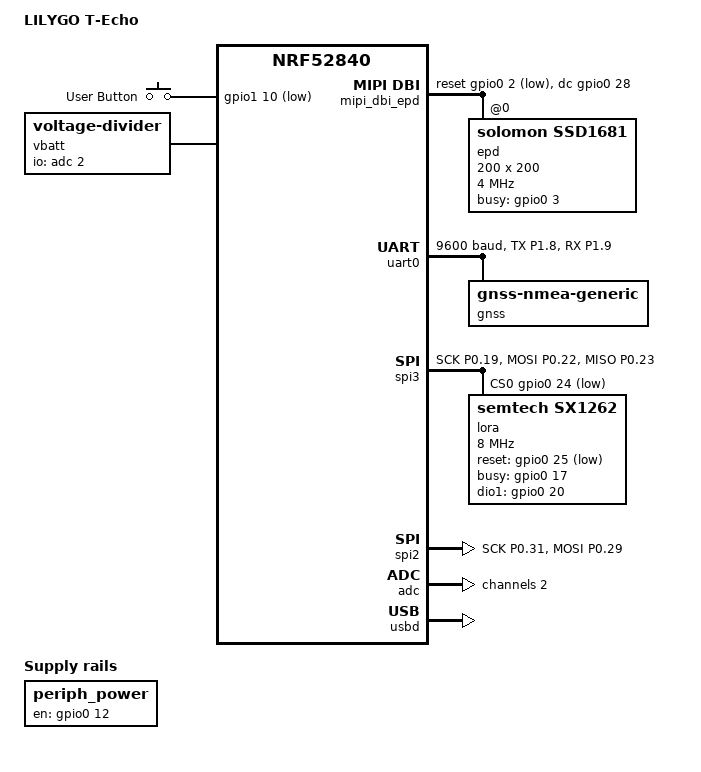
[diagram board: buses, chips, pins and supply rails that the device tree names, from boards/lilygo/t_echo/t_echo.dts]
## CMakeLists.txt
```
# LoRa Convoy on Zephyr, for the nRF52840 boards. The shared sources are the ESP32 build's own, from
# ../src; what differs is the platform under them (src/port_zephyr.*) and start-up (src/main.c).
cmake_minimum_required(VERSION 3.20.0)
find_package(Zephyr REQUIRED HINTS $ENV{ZEPHYR_BASE})
project(lora_convoy)

set(SHARED ${CMAKE_CURRENT_SOURCE_DIR}/../src)

target_sources(app PRIVATE
    src/main.c
    src/port_zephyr.c
    src/ble_nus.c
    src/store.c
    ${SHARED}/run.c
    ${SHARED}/sx1262.c
    ${SHARED}/phy.c
    ${SHARED}/crypto.c
    ${SHARED}/codec.c
    ${SHARED}/nmea.c
    ${SHARED}/node.c
    ${SHARED}/api.c
    ${SHARED}/screen.c
    ${SHARED}/screen_font.c
)
target_include_directories(app PRIVATE src ${SHARED})
# The board's pins, from its devicetree, ahead of everything else: sx1262.h's defaults are the
# Heltec's and apply to whatever has not been named first.
target_compile_options(app PRIVATE -include ${CMAKE_CURRENT_SOURCE_DIR}/src/board.h)
```

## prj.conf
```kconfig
CONFIG_GPIO=y
CONFIG_SPI=y
CONFIG_I2C=y
CONFIG_SERIAL=y
CONFIG_UART_INTERRUPT_DRIVEN=y
CONFIG_UART_USE_RUNTIME_CONFIGURE=y
CONFIG_ENTROPY_GENERATOR=y
CONFIG_HEAP_MEM_POOL_SIZE=32768
CONFIG_DYNAMIC_THREAD=y
CONFIG_DYNAMIC_THREAD_ALLOC=y
CONFIG_DYNAMIC_THREAD_STACK_SIZE=6144
CONFIG_THREAD_NAME=y
CONFIG_MAIN_STACK_SIZE=4096
CONFIG_SYSTEM_WORKQUEUE_STACK_SIZE=4096
CONFIG_COMMON_LIBC_MALLOC_ARENA_SIZE=8192
CONFIG_PICOLIBC_IO_LONG_LONG=y
CONFIG_HWINFO=y
CONFIG_REBOOT=y
# Off by the button (port_power_off): System OFF, its button the way back.
CONFIG_POWEROFF=y
# A hung task restarts the board, with the chip's own watchdog under the kernel's (dmd2-lora-bridge).
CONFIG_TASK_WDT=y
CONFIG_WATCHDOG=y
CONFIG_TASK_WDT_MIN_TIMEOUT=10000
CONFIG_TASK_WDT_HW_FALLBACK_DELAY=10000
CONFIG_LOG=y
CONFIG_LOG_BUFFER_SIZE=8192
# Storage for the bonds, and Bluetooth for the phone API, as dmd2-lora-bridge configured them.
CONFIG_FLASH=y
CONFIG_FLASH_MAP=y
CONFIG_NVS=y
CONFIG_SETTINGS=y
CONFIG_SETTINGS_NVS=y
CONFIG_NVS_DATA_CRC=y
CONFIG_BT=y
CONFIG_BT_PERIPHERAL=y
CONFIG_BT_MAX_CONN=1
CONFIG_BT_MAX_PAIRED=2
CONFIG_BT_SMP=y
CONFIG_BT_SMP_APP_PAIRING_ACCEPT=y
CONFIG_BT_SETTINGS=y
CONFIG_BT_DEVICE_NAME_DYNAMIC=y
CONFIG_BT_DEVICE_NAME_MAX=30
CONFIG_BT_DEVICE_NAME="LoRaConvoy"
CONFIG_BT_L2CAP_TX_MTU=247
CONFIG_BT_BUF_ACL_RX_SIZE=251
CONFIG_BT_BUF_ACL_TX_SIZE=251
CONFIG_BT_CTLR_DATA_LENGTH_MAX=251
CONFIG_BT_BUF_ACL_TX_COUNT=10
CONFIG_BT_BUF_EVT_RX_COUNT=16
CONFIG_BT_ATT_TX_COUNT=10
CONFIG_BT_L2CAP_TX_BUF_COUNT=10
CONFIG_BT_RX_STACK_SIZE=4096
# The screen (src/screen.c) through Zephyr's display drivers, the battery through its voltage divider.
CONFIG_DISPLAY=y
CONFIG_SENSOR=y
```

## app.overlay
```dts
/*
 * The USB console holds one 64-byte packet for a character write and, without flow control,
 * drops whatever does not fit: every log line past 64 bytes lost its tail, the bench's
 * startup line among them. With it, a full packet makes the writer sleep 1 ms and retry. The only
 * writer is the deferred log thread (printk goes through the log), so the firmware never waits;
 * with no host reading, the log buffer overflows instead, and a panic's output, written from
 * the fault handler, is still dropped rather than waited for.
 *
 * ponytail: with no host, the log thread wakes every 1 ms for as long as USB stays unread;
 * turn flow control on only while DTR is set if the current-draw measurement shows it.
 */
&board_cdc_acm_uart {
	hw-flow-control;
};

/* The GNSS's UART is read by our own NMEA reader on both boards (ARCHITECTURE, M3), not by
 * Zephyr's GNSS driver. */
&gnss {
	status = "disabled";
};
```

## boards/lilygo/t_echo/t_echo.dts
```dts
/*
 * LILYGO T-Echo: an nRF52840 with an SX1262 and an L76K whose PPS is wired. Zephyr 4.5 has no
 * board file for it; this names only what LoRa Convoy uses - the radio, the GNSS's UART, the
 * button, USB, the e-paper and the battery - and leaves the flash alone. Pins from Meshtastic's
 * variants/nrf52840/t-echo/variant.h; the pins with no devicetree node of their own (PPS, the
 * GNSS's wake and reset, the peripherals' power) are in src/board.h.
 *
 * The partition is for the Adafruit UF2 bootloader with SoftDevice v6, the application at
 * 0x26000: what a unit bought in 2026 came with (bootloader 0.6.1, S140 6.1.1).
 */

/dts-v1/;
#include <nordic/nrf52840_qiaa.dtsi>
#include <nordic/nrf52840_partition_uf2_sdv6.dtsi>
#include <zephyr/dt-bindings/lora/sx126x.h>
#include <zephyr/dt-bindings/adc/nrf-saadc.h>
#include <zephyr/dt-bindings/input/input-event-codes.h>

/ {
	model = "LILYGO T-Echo";
	compatible = "lilygo,t-echo";

	buttons {
		compatible = "gpio-keys";

		button0: button_0 {
			gpios = <&gpio1 10 (GPIO_PULL_UP | GPIO_ACTIVE_LOW)>;
			label = "User Button";
			zephyr,code = <INPUT_KEY_0>;
		};
	};

	chosen {
		zephyr,display = &epd;
	};

	/* P0.12 powers the e-paper, the GNSS and the radio: on from the start, so the e-paper's
	 * driver finds it powered (main.c raises it again, harmlessly). */
	periph_power: periph-power {
		compatible = "regulator-fixed";
		regulator-name = "periph";
		enable-gpios = <&gpio0 12 GPIO_ACTIVE_HIGH>;
		regulator-boot-on;
		regulator-always-on;
	};

	/* The battery through two equal resistors on P0.04, AIN2 (Meshtastic: ADC_MULTIPLIER 2). */
	vbatt: vbatt {
		compatible = "voltage-divider";
		io-channels = <&adc 2>;
		output-ohms = <1000000>;
		full-ohms = <2000000>;
	};

	/* A GDEH0154D67 on its own SPI: SCK P0.31, MOSI P0.29, CS P0.30, DC P0.28, RES P0.02,
	 * BUSY P0.03. */
	mipi_dbi_epd {
		compatible = "zephyr,mipi-dbi-spi";
		spi-dev = <&spi2>;
		dc-gpios = <&gpio0 28 GPIO_ACTIVE_HIGH>;
		reset-gpios = <&gpio0 2 GPIO_ACTIVE_LOW>;
		#address-cells = <1>;
		#size-cells = <0>;

		epd: ssd16xx@0 {
			compatible = "solomon,ssd1681";
			mipi-max-frequency = <4000000>;
			reg = <0>;
			width = <200>;
			height = <200>;
			busy-gpios = <&gpio0 3 GPIO_ACTIVE_HIGH>;
			tssv = <0x80>;
			/* upside down without it, as the board is held (seen 2026-11-21) */
			rotation = <180>;

			full {
				border-waveform = <0x05>;
			};

			partial {
				border-waveform = <0x3c>;
			};
		};
	};

	aliases {
		sw0 = &button0;
		lora0 = &lora;
		gnss = &gnss;
		watchdog0 = &wdt0;
	};
};

&reg1 {
	regulator-initial-mode = <NRF5X_REG_MODE_DCDC>;
};

&gpiote {
	status = "okay";
};

&gpio0 {
	status = "okay";
};

&gpio1 {
	status = "okay";
};

&uart0 {
	compatible = "nordic,nrf-uarte";
	status = "okay";
	current-speed = <9600>;
	pinctrl-0 = <&uart0_default>;
	pinctrl-1 = <&uart0_sleep>;
	pinctrl-names = "default", "sleep";

	gnss: gnss-nmea-generic {
		compatible = "gnss-nmea-generic";
		status = "okay";
	};
};

&spi3 {
	compatible = "nordic,nrf-spim";
	status = "okay";
	cs-gpios = <&gpio0 24 GPIO_ACTIVE_LOW>;
	pinctrl-0 = <&spi3_default>;
	pinctrl-1 = <&spi3_sleep>;
	pinctrl-names = "default", "sleep";

	lora: lora@0 {
		compatible = "semtech,sx1262";
		reg = <0>;
		spi-max-frequency = <DT_FREQ_M(8)>;
		reset-gpios = <&gpio0 25 GPIO_ACTIVE_LOW>;
		busy-gpios = <&gpio0 17 GPIO_ACTIVE_HIGH>;
		dio1-gpios = <&gpio0 20 GPIO_ACTIVE_HIGH>;
		dio2-tx-enable;
		dio3-tcxo-voltage = <SX126X_DIO3_TCXO_1V8>;
		tcxo-power-startup-delay-ms = <5>;
	};
};

&spi2 {
	compatible = "nordic,nrf-spim";
	status = "okay";
	cs-gpios = <&gpio0 30 GPIO_ACTIVE_LOW>;
	pinctrl-0 = <&spi2_default>;
	pinctrl-1 = <&spi2_sleep>;
	pinctrl-names = "default", "sleep";
};

&adc {
	status = "okay";
	#address-cells = <1>;
	#size-cells = <0>;

	channel@2 {
		reg = <2>;
		zephyr,gain = "ADC_GAIN_1_6";
		zephyr,reference = "ADC_REF_INTERNAL";
		zephyr,vref-mv = <600>;
		zephyr,acquisition-time = <ADC_ACQ_TIME(ADC_ACQ_TIME_MICROSECONDS, 40)>;
		zephyr,input-positive = <NRF_SAADC_AIN2>;
		zephyr,resolution = <12>;
	};
};

zephyr_udc0: &usbd {
	compatible = "nordic,nrf-usbd";
	status = "okay";
};

#include <../boards/common/usb/cdc_acm_serial.dtsi>

&pinctrl {
	/* TX is towards the GNSS (P1.08), RX from it (P1.09). */
	uart0_default: uart0_default {
		group1 {
			psels = <NRF_PSEL(UART_TX, 1, 8)>;
		};

		group2 {
			psels = <NRF_PSEL(UART_RX, 1, 9)>;
			bias-pull-up;
		};
	};

	uart0_sleep: uart0_sleep {
		group1 {
			psels = <NRF_PSEL(UART_TX, 1, 8)>,
				<NRF_PSEL(UART_RX, 1, 9)>;
			low-power-enable;
		};
	};

	spi2_default: spi2_default {
		group1 {
			psels = <NRF_PSEL(SPIM_SCK, 0, 31)>,
				<NRF_PSEL(SPIM_MOSI, 0, 29)>;
		};
	};

	spi2_sleep: spi2_sleep {
		group1 {
			psels = <NRF_PSEL(SPIM_SCK, 0, 31)>,
				<NRF_PSEL(SPIM_MOSI, 0, 29)>;
			low-power-enable;
		};
	};

	spi3_default: spi3_default {
		group1 {
			psels = <NRF_PSEL(SPIM_SCK, 0, 19)>,
				<NRF_PSEL(SPIM_MOSI, 0, 22)>,
				<NRF_PSEL(SPIM_MISO, 0, 23)>;
		};
	};

	spi3_sleep: spi3_sleep {
		group1 {
			psels = <NRF_PSEL(SPIM_SCK, 0, 19)>,
				<NRF_PSEL(SPIM_MOSI, 0, 22)>,
				<NRF_PSEL(SPIM_MISO, 0, 23)>;
			low-power-enable;
		};
	};
};
```

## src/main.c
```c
/*
 * LoRa Convoy on the Seeed Wio Tracker L1 Pro (Zephyr, nRF52840): the GNSS awake,
 * storage opened and its bonds read, then the same firmware as every board (run.c). The storage
 * steps are dmd2-lora-bridge's, and its reasons go with them.
 */
#include "port.h"
#include "run.h"
#include "store.h"

#include <stdio.h>

#include <zephyr/kernel.h>
#include <zephyr/settings/settings.h>

#define TAG "main"

int main(void) {
    const char *reset = run_reset_name();
    const int watch = port_wdt_watch();
#ifdef PIN_POWER_EN
    port_pin_output(PIN_POWER_EN);
    port_pin_set(PIN_POWER_EN, 1);
#endif
#ifdef PIN_GNSS_RESET
    port_pin_output(PIN_GNSS_RESET);
    port_pin_set(PIN_GNSS_RESET, 1);
#endif
#ifdef PIN_GNSS_WAKE
    port_pin_output(PIN_GNSS_WAKE);
    port_pin_set(PIN_GNSS_WAKE, 1);
#endif

    /* Another firmware's file system - an L1 leaves the factory with Meshtastic or MeshCore - holds
     * no owner of ours to protect, so it is cleared without asking. */
    if (store_holds_littlefs()) {
        LOGW(TAG, "storage holds another firmware's file system - clearing it");
        store_erase();
    }
    int err = settings_subsys_init();
    if (err != 0) {
        char why[24];
        snprintf(why, sizeof(why), "settings %d", err);
        run_erase_when_asked(why, watch, store_erase);
        err = settings_subsys_init();
        if (err != 0) {
            LOGE(TAG, "storage still will not open (%d)", err);
            k_panic();
        }
    }
    /*
     * The bonds, read before anything loads settings: Zephyr's loader deletes every entry whose
     * name it cannot read, and a store with no owner would let any phone claim the board. An
     * unreadable store stays as it is, and Bluetooth off, until the button erases it.
     */
    static struct store_bonds bonds;
    err = store_scan_bonds(&bonds);
    if (err != 0) {
        char why[32];
        snprintf(why, sizeof(why), "bond store unreadable, %d", err);
        run_erase_when_asked(why, watch, store_erase);
        /* Settings are still mounted over what was just erased: start again, not write into it. */
        port_restart(RESTART_NOTE_MAGIC | RESTART_FOR_BOND);
    }
    run_start(BOARD_NAME, reset);
    port_wdt_unwatch(watch);
    return 0;
}
```

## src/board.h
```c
#pragma once
/*
 * What sx1262.h and main.c need to know about this board, read from its devicetree rather than
 * written down twice. Included ahead of every source of the app (see CMakeLists.txt), because
 * sx1262.h's defaults are the Heltec's and apply to whatever has not been named first. From
 * dmd2-lora-bridge.
 *
 * Pins are port * 32 + pin, the number port_zephyr.c takes apart again.
 */
#include <zephyr/devicetree.h>
#include <zephyr/dt-bindings/gpio/gpio.h>
#include <zephyr/dt-bindings/lora/sx126x.h>

#define BOARD_LORA DT_ALIAS(lora0)
#define BOARD_PSEL(node, prop) \
    (DT_PROP(DT_GPIO_CTLR(node, prop), port) * 32 + DT_GPIO_PIN(node, prop))

#if !DT_NODE_HAS_COMPAT(BOARD_LORA, semtech_sx1262)
#error "this build needs an SX1262 behind the board's lora0 alias"
#endif

/* The bus and its chip select come from the devicetree, which port_zephyr.c reads directly; the
 * numbers here are for the startup log only. */
#define PIN_SX_NSS                                                                   \
    (DT_PROP(DT_SPI_DEV_CS_GPIOS_CTLR(BOARD_LORA), port) * 32 +                      \
     DT_SPI_DEV_CS_GPIOS_PIN(BOARD_LORA))
#define PIN_SX_SCK  (-1)
#define PIN_SX_MOSI (-1)
#define PIN_SX_MISO (-1)

#define PIN_SX_RST  BOARD_PSEL(BOARD_LORA, reset_gpios)
#define PIN_SX_BUSY BOARD_PSEL(BOARD_LORA, busy_gpios)
#define PIN_SX_DIO1 BOARD_PSEL(BOARD_LORA, dio1_gpios)
#if DT_NODE_HAS_PROP(BOARD_LORA, rx_enable_gpios)
#define PIN_SX_RXEN BOARD_PSEL(BOARD_LORA, rx_enable_gpios)
#endif

/* No KCT8103L or anything like it: the chip's own output. */
#define PIN_FEM_VCTRL (-1)

/* The driver sets both of these itself, so a board that wires them otherwise has to say so here
 * rather than be driven wrongly. */
#if !DT_PROP(BOARD_LORA, dio2_tx_enable)
#error "the SX1262 driver drives the antenna switch from DIO2"
#endif
#if DT_PROP(BOARD_LORA, dio3_tcxo_voltage) != SX126X_DIO3_TCXO_1V8
#error "the SX1262 driver powers the TCXO at 1.8 V from DIO3"
#endif
#define SX_TCXO_MV 1800

/*
 * The L1's GNSS, an L76K on uart0 (app.overlay takes the UART from Zephyr's GNSS driver). It runs
 * from power-up; its wake line, P1.09 in Seeed's pin map as Meshtastic's variant has it (D0 =
 * GPIO 41), is held high so it never sleeps. Zephyr's board file does not name it.
 */
#if DT_NODE_HAS_COMPAT(DT_ROOT, seeed_wio_tracker_l1)
#define BOARD_NAME "wio_tracker_l1"
#define PIN_GNSS_WAKE (1 * 32 + 9)
#endif

/*
 * The T-Echo's, from Meshtastic's variant (boards/lilygo/t_echo): the same L76K with its PPS on
 * P1.04, its reset on P1.05, low for over 100 ms resetting it and so held high, and P0.12, which
 * powers the board's peripherals and is raised before anything else.
 */
#if DT_NODE_HAS_COMPAT(DT_ROOT, lilygo_t_echo)
#define BOARD_NAME "t_echo"
#define PIN_POWER_EN (0 * 32 + 12)
#define PIN_GNSS_WAKE (1 * 32 + 2)
#define PIN_GNSS_RESET (1 * 32 + 5)
#define PIN_GNSS_PPS (1 * 32 + 4)
/* The e-paper's lines as t_echo.dts has them, let go as the board switches off; its touch pad, low
 * when touched, and its screen's light, high lit (Meshtastic's variant: BUTTON_TOUCH_ACTIVE_LOW,
 * PIN_EINK_EN "really just backlight power"). */
#define PIN_EPD_CS (0 * 32 + 30)
#define PIN_EPD_DC (0 * 32 + 28)
#define PIN_EPD_RES (0 * 32 + 2)
#define PIN_EPD_BUSY (0 * 32 + 3)
#define PIN_TOUCH (0 * 32 + 11)
#define PIN_BACKLIGHT (1 * 32 + 11)
/* Its clock ran 102-115 ppm off without a fix, the same in three holdovers (07, 2026-11-14), though
 * Meshtastic's board file says it has a 32 kHz crystal and the build asks for it. */
#define NODE_DRIFT_PPM 150
/* Its LoRa antenna a centimetre from its GNSS's: sending every 2 s, it lost satellites in minutes and
 * found none after a cold start in 15 (lab, 2026-11-22). */
#define NODE_GNSS_QUIET 1
#endif

/* The Wio Tracker L1 Pro's own, measured on one board, 2026-11-11 and 12 (docs/07): its L76K's RMC,
 * sending GGA and RMC only, comes 138 ms after its second and 8.7 ms more for each satellite used
 * (187 ms at 5, 275 at 15, by 5,600 packets heard on a board with PPS); its radio takes 7.1 ms to
 * start. ponytail: one board's numbers for every nRF build, a straight line tried to 15 satellites
 * only, and +-50 ms kept from the desk; another board names its own. */
#ifndef NODE_NMEA_LAG_US
#define NODE_NMEA_LAG_US 138000
#endif
#ifndef NODE_NMEA_LAG_SAT_US
#define NODE_NMEA_LAG_SAT_US 8700
#endif
#ifndef NODE_NMEA_ERR_US
#define NODE_NMEA_ERR_US 100000
#endif
#ifndef NODE_TX_LEAD_US
#define NODE_TX_LEAD_US 7100
#endif
```

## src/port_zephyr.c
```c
/* port.h on Zephyr: the parts that are more than a call through. */
#include "port.h"

#include <stdarg.h>
#include <stdio.h>
#include <string.h>

#include <zephyr/device.h>
#include <zephyr/drivers/gpio.h>
#include <zephyr/drivers/hwinfo.h>
#include <zephyr/drivers/spi.h>
#include <zephyr/drivers/uart.h>
#include <zephyr/fatal.h>
#include <zephyr/logging/log.h>
#include <zephyr/random/random.h>
#include <zephyr/settings/settings.h>
#include <zephyr/sys/poweroff.h>
#include <zephyr/sys/reboot.h>
#include <zephyr/sys/ring_buffer.h>
#include <zephyr/task_wdt/task_wdt.h>
#include <hal/nrf_power.h>

#define TAG "port"

/* ---- log ------------------------------------------------------------------ */

LOG_MODULE_REGISTER(app, LOG_LEVEL_INF);

/*
 * Through Zephyr's own log, deferred, so these lines and the host's never interleave and a
 * caller never waits on the USB console - which, with a terminal open and not reading, would
 * otherwise sleep inside a log call. The bench scripts look only at the text after the tag.
 */
void port_log(char level, const char *tag, const char *fmt, ...) {
    char text[200];
    va_list ap;
    va_start(ap, fmt);
    vsnprintf(text, sizeof(text), fmt, ap);
    va_end(ap);
    switch (level) {
        case 'E': LOG_ERR("%s: %s", tag, text); break;
        case 'W': LOG_WRN("%s: %s", tag, text); break;
        default: LOG_INF("%s: %s", tag, text); break;
    }
}

/* The string itself to the logger, which copies it whole into its 8 KiB, rather than through
 * port_log's 200 bytes: a STATUS line with E0's txlead= runs to some 480. */
void port_console_line(const char *text) { LOG_INF("line: %s", text); }

/* ---- kernel objects -------------------------------------------------------- */

port_mutex_t port_mutex_create(void) {
    struct k_mutex *m = k_malloc(sizeof(*m));
    if (!m) k_panic();
    k_mutex_init(m);
    return m;
}

struct task_start {
    void (*fn)(void *);
};

static void task_entry(void *start, void *unused1, void *unused2) {
    (void)unused1;
    (void)unused2;
    ((struct task_start *)start)->fn(NULL);
}

/* Priorities are FreeRTOS's, counting up; Zephyr counts down, so 1..6 become 14..9, all
 * preemptible. */
bool port_task_create(void (*fn)(void *), const char *name, size_t stack, int prio) {
    struct k_thread *thread = k_malloc(sizeof(*thread));
    struct task_start *start = k_malloc(sizeof(*start));
    k_thread_stack_t *stack_mem = k_thread_stack_alloc(stack, 0);
    if (!thread || !start || !stack_mem) return false;
    start->fn = fn;
    k_tid_t tid = k_thread_create(thread, stack_mem, stack, task_entry, start, NULL, NULL,
                                  K_PRIO_PREEMPT(15 - prio), 0, K_NO_WAIT);
    k_thread_name_set(tid, name);
    return true;
}

/* ---- watchdog -------------------------------------------------------------- */

/* What the watchdog and a fatal error leave for the next start when they restart the board, so
 * that start can say task_wdt or panic, as an ESP32 does, rather than a plain sw. */
#define NOTE_TASK_WDT 0x5E70B001u
#define NOTE_PANIC 0x5E70B002u

static void wdt_expired(int channel, void *user_data) {
    (void)channel;
    (void)user_data;
    port_restart(NOTE_TASK_WDT);
}

/*
 * Kernel timers, with the chip's own watchdog under them (prj.conf: 20 s): the task watchdog
 * feeds it from a timer interrupt, so a hang with interrupts off still restarts the board, as
 * reset=wdt. Once started it cannot be stopped, and it runs on through a software restart;
 * the UF2 bootloader feeds it, so an update is not cut short (an L1 Pro sat 45 s in its drive
 * with it running, then took a new image).
 */
int port_wdt_watch(void) {
    static bool ready;
    if (!ready) {
        ready = task_wdt_init(DEVICE_DT_GET(DT_ALIAS(watchdog0))) == 0;
    }
    const int channel = ready ? task_wdt_add(30 * 1000, wdt_expired, NULL) : -1;
    if (channel < 0) LOGW(TAG, "task watchdog unavailable (%d)", channel);
    return channel;
}

void port_wdt_feed(int watch) {
    if (watch >= 0) task_wdt_feed(watch);
}

void port_wdt_unwatch(int watch) {
    if (watch >= 0) task_wdt_delete(watch);
}

/* ---- pins ------------------------------------------------------------------ */

static const struct device *const s_gpio[] = {
    DEVICE_DT_GET(DT_NODELABEL(gpio0)),
    DEVICE_DT_GET(DT_NODELABEL(gpio1)),
};

static const struct device *pin_port(int pin) { return s_gpio[pin / 32]; }

void port_pin_output(int pin) { gpio_pin_configure(pin_port(pin), pin % 32, GPIO_OUTPUT); }
void port_pin_input(int pin) { gpio_pin_configure(pin_port(pin), pin % 32, GPIO_INPUT); }
/* Raw: the level on the wire, as the ESP32 builds mean it, not the devicetree's active sense. */
void port_pin_set(int pin, int level) { gpio_pin_set_raw(pin_port(pin), pin % 32, level); }
int port_pin_get(int pin) { return gpio_pin_get_raw(pin_port(pin), pin % 32); }

/* The radio's DIO1, which rises at its TxDone and RxDone (sx1262.c), stamped in its interrupt:
 * E0's measure of when a packet left and came. Its error is the uptime's tick, 31 us at 32768 Hz,
 * plus however long the handler waits to run: to be measured (E0). */
static struct gpio_callback s_dio1_cb;
static struct k_spinlock s_dio1_lock;
static int64_t s_dio1_us;

static void on_dio1(const struct device *dev, struct gpio_callback *cb, uint32_t pins) {
    (void)dev;
    (void)cb;
    (void)pins;
    const int64_t now = port_uptime_us();
    const k_spinlock_key_t key = k_spin_lock(&s_dio1_lock);
    s_dio1_us = now;
    k_spin_unlock(&s_dio1_lock, key);
}

void port_radio_irq_open(int pin) {
    const struct device *port = pin_port(pin);
    gpio_pin_configure(port, pin % 32, GPIO_INPUT);
    gpio_init_callback(&s_dio1_cb, on_dio1, BIT(pin % 32));
    gpio_add_callback(port, &s_dio1_cb);
    gpio_pin_interrupt_configure(port, pin % 32, GPIO_INT_EDGE_RISING);
}

int64_t port_radio_irq_us(void) {
    const k_spinlock_key_t key = k_spin_lock(&s_dio1_lock);
    const int64_t t = s_dio1_us;
    k_spin_unlock(&s_dio1_lock, key);
    return t;
}

/* ---- the setup, in settings beside the bonds ------------------------------------ */

static uint8_t s_setup[64];
static size_t s_setup_len;
static bool s_setup_found;

static int setup_set(const char *name, size_t len, settings_read_cb read_cb, void *cb_arg) {
    if (strcmp(name, "setup") != 0 || len > sizeof(s_setup)) return -ENOENT;
    const ssize_t n = read_cb(cb_arg, s_setup, len);
    if (n < 0) return (int)n;
    s_setup_len = (size_t)n;
    s_setup_found = true;
    return 0;
}

SETTINGS_STATIC_HANDLER_DEFINE(convoy, "convoy", NULL, setup_set, NULL, NULL);

/* Loaded only after main has read the whole store (store_scan_bonds): Zephyr's loader deletes
 * whatever it cannot read, whichever subtree it was asked for. */
bool port_setup_load(void *buf, size_t len) {
    s_setup_found = false;
    if (settings_load_subtree("convoy") != 0 || !s_setup_found || s_setup_len != len) return false;
    memcpy(buf, s_setup, len);
    return true;
}

bool port_setup_save(const void *buf, size_t len) { return settings_save_one("convoy/setup", buf, len) == 0; }

/* ---- the button --------------------------------------------------------------- */

static const struct gpio_dt_spec s_button = GPIO_DT_SPEC_GET(DT_ALIAS(sw0), gpios);

/* Logical, so the devicetree's polarity and pull apply; configured on first use. */
bool port_button_down(void) {
    static bool ready;
    if (!ready) {
        ready = gpio_pin_configure_dt(&s_button, GPIO_INPUT) == 0;
    }
    return ready && gpio_pin_get_dt(&s_button) == 1;
}

/* System OFF, the button set to wake it into a fresh start. The T-Echo's peripherals lose their
 * power: its e-paper, done drawing, keeps the last picture, and its lines are let go first so nothing
 * leaks into it (Meshtastic's variant_shutdown). Elsewhere run.c has put them to sleep. The
 * bootloader would take the button held as it wakes for a call to it: Adafruit's DFU_MAGIC_SKIP
 * tells it not to look, as Meshtastic's cpuDeepSleep does. */
void port_power_off(void) {
#ifdef PIN_POWER_EN
    for (int i = 0; i < 300 && port_pin_get(PIN_EPD_BUSY); i++) k_msleep(10);
    port_pin_input(PIN_EPD_CS);
    port_pin_input(PIN_EPD_DC);
    port_pin_input(PIN_EPD_RES);
    port_pin_input(PIN_EPD_BUSY);
    port_pin_set(PIN_POWER_EN, 0);
    port_pin_input(PIN_POWER_EN);
#endif
    nrf_power_gpregret_set(NRF_POWER, 0, 0x6d);
    gpio_pin_configure_dt(&s_button, GPIO_INPUT);
    gpio_pin_interrupt_configure_dt(&s_button, GPIO_INT_LEVEL_ACTIVE);
    sys_poweroff();
}

#ifdef PIN_TOUCH
bool port_touch_down(void) {
    static bool ready;
    if (!ready) ready = gpio_pin_configure(pin_port(PIN_TOUCH), PIN_TOUCH % 32, GPIO_INPUT | GPIO_PULL_UP) == 0;
    return ready && port_pin_get(PIN_TOUCH) == 0;
}

void port_backlight(bool on) {
    static bool ready;
    if (!ready) port_pin_output(PIN_BACKLIGHT), ready = true;
    port_pin_set(PIN_BACKLIGHT, on);
}
#else
bool port_touch_down(void) { return false; }
void port_backlight(bool on) { (void)on; }
#endif

/* ---- the radio's bus -------------------------------------------------------- */

static struct spi_dt_spec s_spi =
    SPI_DT_SPEC_GET(DT_ALIAS(lora0), SPI_WORD_SET(8) | SPI_TRANSFER_MSB | SPI_OP_MODE_CONTROLLER);

/* The devicetree names the bus and the chip select; the clock is held at the ESP32 builds' 2 MHz,
 * so the two drivers time the chip alike. The pin arguments are theirs. */
void port_radio_spi_init(int nss, int sck, int mosi, int miso) {
    (void)nss;
    (void)sck;
    (void)mosi;
    (void)miso;
    if (!spi_is_ready_dt(&s_spi)) k_panic();
    s_spi.config.frequency = 2 * 1000 * 1000;
}

bool port_radio_spi_xfer(const uint8_t *tx, uint8_t *rx, size_t len) {
    const struct spi_buf tx_buf = {.buf = (void *)tx, .len = len};
    const struct spi_buf rx_buf = {.buf = rx, .len = len};
    const struct spi_buf_set txs = {.buffers = &tx_buf, .count = 1};
    const struct spi_buf_set rxs = {.buffers = &rx_buf, .count = 1};
    return spi_transceive_dt(&s_spi, &txs, &rxs) == 0;
}

/* ---- reset and restart -------------------------------------------------------- */

/*
 * Survives a software reset - RAM is not cleared - but not a power loss. Whether the UF2
 * bootloader, which runs on every reset, leaves this word alone is to be confirmed on the board;
 * if it does not, the cost is reset=sw where ble_stuck or bond_reset was meant.
 */
static __noinit uint32_t s_restart_note;

void port_restart(uint32_t note) {
    s_restart_note = note;
    sys_reboot(SYS_REBOOT_COLD);
}

/* Adafruit's UF2 bootloader, the one the L1 ships with, stays in its drive mode when it starts
 * with this in GPREGRET. Zephyr's sys_reboot() ignores its type on the nRF52, so it is set here. */
#define UF2_BOOTLOADER_MAGIC 0x57

void port_restart_to_bootloader(void) {
    nrf_power_gpregret_set(NRF_POWER, 0, UF2_BOOTLOADER_MAGIC);
    sys_reboot(SYS_REBOOT_COLD);
}

/*
 * In place of Zephyr's, which halts: a halted board is off the air until someone re-plugs it,
 * and the kernel's watchdog, the only one running, halts with it. A restart is back in seconds.
 */
void k_sys_fatal_error_handler(unsigned int reason, const struct arch_esf *esf) {
    (void)reason;
    (void)esf;
    port_restart(NOTE_PANIC);
}

/* Read once, then cleared, so a note never outlives the restart it was left for. */
static uint32_t note_once(void) {
    static bool read;
    static uint32_t note;
    if (!read) {
        read = true;
        note = s_restart_note;
        s_restart_note = 0;
    }
    return note;
}

uint32_t port_restart_note(void) { return note_once(); }

/* The nRF52's reset reasons, in ESP-IDF's words where there is one. A brownout looks like a
 * power-on here: the chip keeps no separate flag for it. */
const char *port_reset_cause(void) {
    static const char *cause;
    if (cause) return cause;
    uint32_t flags = 0;
    if (hwinfo_get_reset_cause(&flags) != 0) flags = 0;
    (void)hwinfo_clear_reset_cause();   /* they accumulate across resets until cleared */
    if (flags & RESET_WATCHDOG) {
        cause = "wdt";
    } else if (flags & RESET_CPU_LOCKUP) {
        cause = "panic";
    } else if (flags & RESET_SOFTWARE) {
        const uint32_t note = note_once();
        cause = note == NOTE_TASK_WDT ? "task_wdt" : note == NOTE_PANIC ? "panic" : "sw";
    } else if (flags & RESET_PIN) {
        cause = "pin";
    } else if (flags == 0) {
        cause = "poweron";
    } else {
        cause = "other";
    }
    return cause;
}

/* ---- the GNSS -------------------------------------------------------------- */

/* uart0, which app.overlay takes from Zephyr's GNSS driver so that both boards read NMEA alike. At
 * 9600 baud a byte comes every millisecond, faster than polling with sleeps would catch, so the
 * interrupt fills a ring and the GNSS task drains it. */
static const struct device *const s_gnss = DEVICE_DT_GET(DT_NODELABEL(uart0));
RING_BUF_DECLARE(s_gnss_ring, 512);
static K_SEM_DEFINE(s_gnss_data, 0, 1);

static void gnss_isr(const struct device *dev, void *user_data) {
    (void)user_data;
    uart_irq_update(dev);
    while (uart_irq_rx_ready(dev)) {
        uint8_t buf[32];
        const int n = uart_fifo_read(dev, buf, sizeof(buf));
        if (n <= 0) break;
        ring_buf_put(&s_gnss_ring, buf, (uint32_t)n);   /* a full ring drops: a sentence is lost */
        k_sem_give(&s_gnss_data);
    }
}

/* The PPS edge, stamped in its interrupt as DIO1 is, on a board that wires it (board.h). */
static struct k_spinlock s_pps_lock;
static int64_t s_pps_us;

#ifdef PIN_GNSS_PPS
static struct gpio_callback s_pps_cb;

static void on_pps(const struct device *dev, struct gpio_callback *cb, uint32_t pins) {
    (void)dev;
    (void)cb;
    (void)pins;
    const int64_t now = port_uptime_us();
    const k_spinlock_key_t key = k_spin_lock(&s_pps_lock);
    s_pps_us = now;
    k_spin_unlock(&s_pps_lock, key);
}
#endif

int64_t port_pps_us(void) {
    const k_spinlock_key_t key = k_spin_lock(&s_pps_lock);
    const int64_t t = s_pps_us;
    k_spin_unlock(&s_pps_lock, key);
    return t;
}

void port_gnss_open(void) {
#ifdef PIN_GNSS_PPS
    const struct device *port = pin_port(PIN_GNSS_PPS);
    gpio_pin_configure(port, PIN_GNSS_PPS % 32, GPIO_INPUT);
    gpio_init_callback(&s_pps_cb, on_pps, BIT(PIN_GNSS_PPS % 32));
    gpio_add_callback(port, &s_pps_cb);
    gpio_pin_interrupt_configure(port, PIN_GNSS_PPS % 32, GPIO_INT_EDGE_RISING);
#endif
    const struct uart_config cfg = {.baudrate = 9600, .parity = UART_CFG_PARITY_NONE,
                                    .stop_bits = UART_CFG_STOP_BITS_1, .data_bits = UART_CFG_DATA_BITS_8,
                                    .flow_ctrl = UART_CFG_FLOW_CTRL_NONE};
    if (!device_is_ready(s_gnss) || uart_configure(s_gnss, &cfg) != 0) {
        LOGE(TAG, "the GNSS's UART is not ready");
        return;
    }
    uart_irq_callback_user_data_set(s_gnss, gnss_isr, NULL);
    uart_irq_rx_enable(s_gnss);
}

void port_gnss_write(const char *s) {
    while (*s) uart_poll_out(s_gnss, (unsigned char)*s++);
}

static int gnss_take(void) {
    uint8_t c;
    const unsigned key = irq_lock();
    const uint32_t n = ring_buf_get(&s_gnss_ring, &c, 1);
    irq_unlock(key);
    return n == 1 ? c : -1;
}

int port_gnss_getc(uint32_t timeout_ms) {
    int c = gnss_take();
    if (c < 0) {
        k_sem_take(&s_gnss_data, K_MSEC(timeout_ms));
        c = gnss_take();
    }
    return c;
}

uint32_t port_random(void) { return sys_rand32_get(); }

size_t port_device_id(uint8_t *out, size_t cap) {
    const ssize_t n = hwinfo_get_device_id(out, cap);
    return n > 0 ? (size_t)n : 0;
}

/* ---- the console ------------------------------------------------------------ */

static const struct device *const s_console = DEVICE_DT_GET(DT_CHOSEN(zephyr_console));

void port_console_open(void) {}

/* The console is the board's own USB, as on an ESP32-S3; polled, since only a person reads it. */
int port_console_getc(uint32_t timeout_ms) {
    const int64_t until = k_uptime_get() + timeout_ms;
    do {
        unsigned char c;
        if (uart_poll_in(s_console, &c) == 0) return c;
        k_msleep(10);
    } while (k_uptime_get() < until);
    return -1;
}

/* ---- the screen and the battery, as the board's devicetree names them -------------------------- */

#if DT_HAS_CHOSEN(zephyr_display)
#include <zephyr/drivers/display.h>

static const struct device *const s_display = DEVICE_DT_GET(DT_CHOSEN(zephyr_display));
#define EPD_WHOLE_EVERY 20

/* screen.c's pages, a byte for eight rows with the top row in the low bit; a driver that tiles
 * otherwise is not one this takes. */
bool port_screen_size(int *w, int *h) {
    if (!device_is_ready(s_display)) return false;
    struct display_capabilities caps;
    display_get_capabilities(s_display, &caps);
    *w = caps.x_resolution;
    *h = caps.y_resolution;
    return (caps.screen_info & SCREEN_INFO_MONO_VTILED) && *w * *h / 8 <= 200 * 200 / 8;
}

/* Turned round as the driver wants it: the top row in the high bit where it says MSB first, and
 * the letters dark on an e-paper, lit on an OLED, whichever of white or black its format calls 1. */
void port_screen_show(const uint8_t *buf) {
    static uint8_t out[200 * 200 / 8];
    static bool on;
    struct display_capabilities caps;
    display_get_capabilities(s_display, &caps);
    const size_t len = (size_t)caps.x_resolution * caps.y_resolution / 8;
    const bool msb = caps.screen_info & SCREEN_INFO_MONO_MSB_FIRST;
    const bool invert = !(caps.screen_info & SCREEN_INFO_EPD) != !(caps.current_pixel_format == PIXEL_FORMAT_MONO10);
    for (size_t i = 0; i < len && i < sizeof(out); i++) {
        uint8_t b = buf[i];
        if (msb) {
            b = (uint8_t)((b & 0xF0) >> 4 | (b & 0x0F) << 4);
            b = (uint8_t)((b & 0xCC) >> 2 | (b & 0x33) << 2);
            b = (uint8_t)((b & 0xAA) >> 1 | (b & 0x55) << 1);
        }
        out[i] = invert ? (uint8_t)~b : b;
    }
    const struct display_buffer_descriptor desc = {
        .buf_size = len, .width = caps.x_resolution, .height = caps.y_resolution, .pitch = caps.x_resolution};
    /* An e-paper draws its first picture whole, on blanking off, and the later ones in part; each
     * EPD_WHOLE_EVERY-th whole again, written while blanked, which clears the ghosts the partial ones
     * leave (Meshtastic's T-Echo: 20 in part at most). */
    static unsigned drawn;
    const bool whole = on && (caps.screen_info & SCREEN_INFO_EPD) && ++drawn % EPD_WHOLE_EVERY == 0;
    if (whole && display_blanking_on(s_display) != 0) LOGW(TAG, "screen: no whole redraw");
    if (display_write(s_display, 0, 0, &desc, out) != 0) LOGW(TAG, "screen: write refused");
    if (!on || whole) on = display_blanking_off(s_display) == 0;
}

/* Dark by the driver's blanking: an OLED's display off, its memory kept. An e-paper keeps its picture
 * unpowered, so it is never dark, and goes on being redrawn. */
bool port_screen_light(bool on) {
    if (!device_is_ready(s_display)) return false;
    struct display_capabilities caps;
    display_get_capabilities(s_display, &caps);
    if (caps.screen_info & SCREEN_INFO_EPD) return false;
    return (on ? display_blanking_off(s_display) : display_blanking_on(s_display)) == 0;
}
#else
bool port_screen_size(int *w, int *h) {
    (void)w, (void)h;
    return false;
}
void port_screen_show(const uint8_t *buf) { (void)buf; }
bool port_screen_light(bool on) {
    (void)on;
    return false;
}
#endif

/* The nRF52840's own VBUS detector, which a charging cell's voltage is not: Meshtastic's T-Echo
 * reads the voltage, and shows a charging cell as a percentage. */
#include <hal/nrf_power.h>
bool port_usb_power(void) { return nrf_power_usbregstatus_vbusdet_get(NRF_POWER); }

#if DT_HAS_COMPAT_STATUS_OKAY(voltage_divider)
#include <zephyr/drivers/sensor.h>

static const struct device *const s_vbatt = DEVICE_DT_GET(DT_COMPAT_GET_ANY_STATUS_OKAY(voltage_divider));

int port_battery_mv(void) {
    struct sensor_value v;
    if (!device_is_ready(s_vbatt) || sensor_sample_fetch(s_vbatt) != 0 ||
        sensor_channel_get(s_vbatt, SENSOR_CHAN_VOLTAGE, &v) != 0) {
        return 0;
    }
    return v.val1 * 1000 + v.val2 / 1000;
}
#else
int port_battery_mv(void) { return 0; }
#endif
```

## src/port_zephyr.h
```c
#pragma once
/*
 * port.h on Zephyr, for the nRF52840 boards: the kernel's clock, mutexes, queues and threads;
 * pins as port * 32 + pin; the radio's bus and chip select from the board's devicetree.
 */
#include <stdbool.h>
#include <stddef.h>
#include <stdint.h>

#include <zephyr/kernel.h>

void port_log(char level, const char *tag, const char *fmt, ...)
    __attribute__((format(printf, 3, 4)));
#define LOGI(tag, ...) port_log('I', tag, __VA_ARGS__)
#define LOGW(tag, ...) port_log('W', tag, __VA_ARGS__)
#define LOGE(tag, ...) port_log('E', tag, __VA_ARGS__)

static inline int64_t port_uptime_us(void) {
    return (int64_t)k_ticks_to_us_floor64((uint64_t)k_uptime_ticks());
}
static inline void port_delay_us(uint32_t us) { k_busy_wait(us); }
static inline void port_sleep_ms(uint32_t ms) { k_msleep((int32_t)ms); }

typedef struct k_mutex *port_mutex_t;
port_mutex_t port_mutex_create(void);
static inline bool port_mutex_take(port_mutex_t m, uint32_t timeout_ms) {
    return k_mutex_lock(m, K_MSEC(timeout_ms)) == 0;
}
static inline void port_mutex_lock(port_mutex_t m) { (void)k_mutex_lock(m, K_FOREVER); }
static inline void port_mutex_give(port_mutex_t m) { (void)k_mutex_unlock(m); }

bool port_task_create(void (*fn)(void *), const char *name, size_t stack, int prio);

int port_wdt_watch(void);
void port_wdt_feed(int watch);
void port_wdt_unwatch(int watch);

void port_pin_output(int pin);
void port_pin_input(int pin);
void port_pin_set(int pin, int level);
int port_pin_get(int pin);

void port_radio_spi_init(int nss, int sck, int mosi, int miso);
bool port_radio_spi_xfer(const uint8_t *tx, uint8_t *rx, size_t len);

bool port_setup_load(void *buf, size_t len);
bool port_setup_save(const void *buf, size_t len);

bool port_button_down(void);
void port_power_off(void);
bool port_touch_down(void);
void port_backlight(bool on);
bool port_screen_size(int *w, int *h);
void port_screen_show(const uint8_t *buf);
bool port_screen_light(bool on);
int port_battery_mv(void);
bool port_usb_power(void);

void port_restart(uint32_t note);
uint32_t port_restart_note(void);
const char *port_reset_cause(void);

void port_console_open(void);
int port_console_getc(uint32_t timeout_ms);

void port_gnss_open(void);
int port_gnss_getc(uint32_t timeout_ms);
void port_gnss_write(const char *s);
void port_console_line(const char *text);
void port_radio_irq_open(int pin);
int64_t port_radio_irq_us(void);

/* 0 for ever on a board whose pin map has no PPS line, the L1 (ARCHITECTURE D5): its time is
 * NMEA's. */
int64_t port_pps_us(void);

uint32_t port_random(void);
size_t port_device_id(uint8_t *out, size_t cap);

/* The UF2 bootloader's drive, on the console's bootloader command: a new image without the reset
 * button's double tap. */
#define PORT_BOOTLOADER 1
void port_restart_to_bootloader(void);
```
